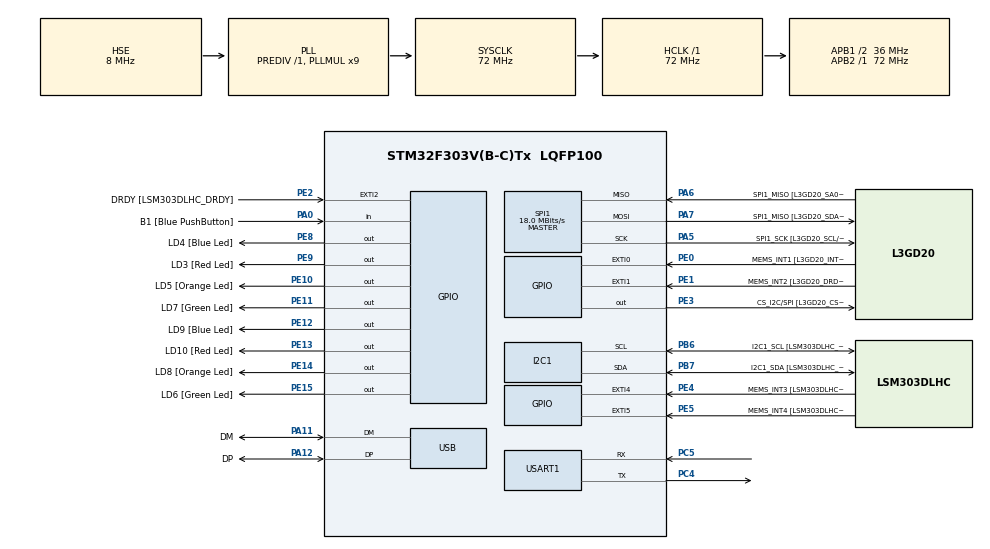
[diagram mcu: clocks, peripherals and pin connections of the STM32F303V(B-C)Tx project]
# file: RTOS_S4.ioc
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FREERTOS.Tasks01=defaultTask,0,128,StartDefaultTask,Default,NULL,Dynamic,NULL,NULL
FREERTOS.configUSE_NEWLIB_REENTRANT=1
I2C1.Timing-I2C=0x2000090E
Mcu.Family=STM32F3
Mcu.Name=STM32F303V(B-C)Tx
Mcu.Package=LQFP100
NVIC.PriorityGroup=NVIC_PRIORITYGROUP_4
NVIC.TIM1_UP_TIM16_IRQn=true\:15\:0\:false\:false\:true\:false\:false\:true\:true
NVIC.TimeBase=TIM1_UP_TIM16_IRQn
NVIC.TimeBaseIP=TIM1
NVIC.USART1_IRQn=true\:5\:0\:false\:false\:true\:true\:true\:true\:true
PA0.GPIO_Label=B1 [Blue PushButton]
PA0.Signal=GPIO_Input
PA11.GPIO_Label=DM
PA11.Mode=Device
PA11.Signal=USB_DM
PA12.GPIO_Label=DP
PA12.Mode=Device
PA12.Signal=USB_DP
PA13.GPIO_Label=SWDIO
PA13.Mode=Serial_Wire
PA13.Signal=SYS_JTMS-SWDIO
PA14.GPIO_Label=SWCLK
PA14.Mode=Serial_Wire
PA14.Signal=SYS_JTCK-SWCLK
PA5.GPIO_Label=SPI1_SCK [L3GD20_SCL/SPC]
PA5.Mode=Full_Duplex_Master
PA5.Signal=SPI1_SCK
PA6.GPIO_Label=SPI1_MISO [L3GD20_SA0/SDO]
PA6.Mode=Full_Duplex_Master
PA6.Signal=SPI1_MISO
PA7.GPIO_Label=SPI1_MISO [L3GD20_SDA/SDI/SDO]
PA7.Mode=Full_Duplex_Master
PA7.Signal=SPI1_MOSI
PB3.GPIO_Label=SWO
PB3.Signal=SYS_JTDO-TRACESWO
PB6.GPIO_Label=I2C1_SCL [LSM303DLHC_SCL]
PB6.GPIO_Pu=GPIO_PULLUP
PB6.Mode=I2C
PB6.Signal=I2C1_SCL
PB7.GPIO_Label=I2C1_SDA [LSM303DLHC_SDA]
PB7.GPIO_Pu=GPIO_PULLUP
PB7.Mode=I2C
PB7.Signal=I2C1_SDA
PC14-OSC32_IN.GPIO_Label=OSC32_IN
PC14-OSC32_IN.Signal=RCC_OSC32_IN
PC15-OSC32_OUT.GPIO_Label=OSC32_OUT
PC15-OSC32_OUT.Signal=RCC_OSC32_OUT
PC4.Mode=Asynchronous
PC4.Signal=USART1_TX
PC5.Mode=Asynchronous
PC5.Signal=USART1_RX
PE0.GPIO_Label=MEMS_INT1 [L3GD20_INT1]
PE0.GPIO_ModeDefaultEXTI=GPIO_MODE_EVT_RISING
PE0.Signal=GPXTI0
PE1.GPIO_Label=MEMS_INT2 [L3GD20_DRDY/INT2]
PE1.GPIO_ModeDefaultEXTI=GPIO_MODE_EVT_RISING
PE1.Signal=GPXTI1
PE10.GPIO_Label=LD5 [Orange Led]
PE10.Signal=GPIO_Output
PE11.GPIO_Label=LD7 [Green Led]
PE11.Signal=GPIO_Output
PE12.GPIO_Label=LD9 [Blue Led]
PE12.Signal=GPIO_Output
PE13.GPIO_Label=LD10 [Red Led]
PE13.Signal=GPIO_Output
PE14.GPIO_Label=LD8 [Orange Led]
PE14.Signal=GPIO_Output
PE15.GPIO_Label=LD6 [Green Led]
PE15.Signal=GPIO_Output
PE2.GPIO_Label=DRDY [LSM303DLHC_DRDY]
PE2.GPIO_ModeDefaultEXTI=GPIO_MODE_EVT_RISING
PE2.Signal=GPXTI2
PE3.GPIO_Label=CS_I2C/SPI [L3GD20_CS_I2C/SPI]
PE3.Signal=GPIO_Output
PE4.GPIO_Label=MEMS_INT3 [LSM303DLHC_INT1]
PE4.GPIO_ModeDefaultEXTI=GPIO_MODE_EVT_RISING
PE4.Signal=GPXTI4
PE5.GPIO_Label=MEMS_INT4 [LSM303DLHC_INT2]
PE5.GPIO_ModeDefaultEXTI=GPIO_MODE_EVT_RISING
PE5.Signal=GPXTI5
PE8.GPIO_Label=LD4 [Blue Led]
PE8.Signal=GPIO_Output
PE9.GPIO_Label=LD3 [Red Led]
PE9.Signal=GPIO_Output
PF0-OSC_IN.GPIO_Label=OSC_IN
PF0-OSC_IN.Mode=HSE-External-Clock-Source
PF0-OSC_IN.Signal=RCC_OSC_IN
PF1-OSC_OUT.GPIO_Label=OSC_OUT
PF1-OSC_OUT.Signal=RCC_OSC_OUT
ProjectManager.HeapSize=0x200
ProjectManager.StackSize=0x400
ProjectManager.TargetToolchain=STM32CubeIDE
RCC.AHBFreq_Value=72000000
RCC.APB1CLKDivider=RCC_HCLK_DIV2
RCC.APB1Freq_Value=36000000
RCC.APB1TimFreq_Value=72000000
RCC.APB2Freq_Value=72000000
RCC.APB2TimFreq_Value=72000000
RCC.CortexFreq_Value=72000000
RCC.HCLKFreq_Value=72000000
RCC.HSE_VALUE=8000000
RCC.HSI_VALUE=8000000
RCC.LSE_VALUE=32768
RCC.PLLMUL=RCC_PLL_MUL9
RCC.PRESCALERUSB=RCC_USBCLKSOURCE_PLL_DIV1_5
RCC.SYSCLKFreq_VALUE=72000000
RCC.SYSCLKSourceVirtual=RCC_SYSCLKSOURCE_PLLCLK
RCC.USBFreq_Value=48000000
SPI1.BaudRatePrescaler=SPI_BAUDRATEPRESCALER_4
SPI1.BaudRatePrescaler-Full_Duplex_Master=SPI_BAUDRATEPRESCALER_2
SPI1.CalculateBaudRate=18.0 MBits/s
SPI1.CalculateBaudRate-Full_Duplex_Master=24.0 MBits/s
SPI1.Direction=SPI_DIRECTION_2LINES
SPI1.Mode=SPI_MODE_MASTER
SPI1.Mode-Full_Duplex_Master=SPI_MODE_MASTER
SPI1.VirtualType=VM_MASTER
USART1.VirtualMode-Asynchronous=VM_ASYNC
VP_FREERTOS_VS_CMSIS_V1.Mode=CMSIS_V1
VP_SYS_VS_tim1.Mode=TIM1
board=STM32F3DISCOVERY

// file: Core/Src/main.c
/* USER CODE BEGIN Header */
/**
  ******************************************************************************
  * @file           : main.c
  * @brief          : Main program body
  ******************************************************************************
  * @attention
  *
  * Copyright (c) 2024 STMicroelectronics.
  * All rights reserved.
  *
  * This software is licensed under terms that can be found in the LICENSE file
  * in the root directory of this software component.
  * If no LICENSE file comes with this software, it is provided AS-IS.
  *
  ******************************************************************************
  */
/* USER CODE END Header */
#include "main.h"
//#include "cmsis_os.h"

/* USER CODE BEGIN Includes */
#include "FreeRTOS.h"
#include "task.h"
#include "timers.h"
#include "queue.h"
#include "semphr.h"
#include "event_groups.h"
#include "string.h"
/* USER CODE END Includes */

I2C_HandleTypeDef hi2c1;

SPI_HandleTypeDef hspi1;

UART_HandleTypeDef huart1;

PCD_HandleTypeDef hpcd_USB_FS;

void SystemClock_Config(void);
static void MX_GPIO_Init(void);
static void MX_I2C1_Init(void);
static void MX_SPI1_Init(void);
static void MX_USB_PCD_Init(void);
static void MX_USART1_UART_Init(void);

/* USER CODE BEGIN 0 */

/********************* Task Handlers *********************/
xTaskHandle Sender_HPT_Handler;
xTaskHandle Sender_LPT_Handler;
xTaskHandle Receiver_Handler;

/********************* Queue Handlers *********************/
xQueueHandle SimpleQueue;

/********************* Task Functions *********************/
void Sender_HPT_TASK_Start(void *argument);
void Sender_LPT_TASK_Start(void *argument);
void Receiver_TASK_Start(void *argument);

/********************* UART *********************/
uint8_t rx_data = 0;

/* USER CODE END 0 */

int main(void)
{

  /* MCU Configuration--------------------------------------------------------*/

  /* Reset of all peripherals, Initializes the Flash interface and the Systick. */
  HAL_Init();

  /* Configure the system clock */
  SystemClock_Config();

  /* Initialize all configured peripherals */
  MX_GPIO_Init();
  MX_I2C1_Init();
  MX_SPI1_Init();
  MX_USB_PCD_Init();
  MX_USART1_UART_Init();
  /* USER CODE BEGIN 2 */

  uint8_t buffer_data[100];
  sprintf(buffer_data, "Start\r\n");
  HAL_UART_Transmit(&huart1, buffer_data, strlen(buffer_data), 1000);

  /********************* Create Queue *********************/
  SimpleQueue = xQueueCreate(5, sizeof(int));
  // Check Queue is created successfully or not!
  if(SimpleQueue == 0) {
	  uint8_t queue_data[100];
	  sprintf(queue_data, "Unable to create integer queue!\r\n\r\n");
	  HAL_UART_Transmit(&huart1, queue_data, strlen(queue_data), 1000);
  }
  else {
	  uint8_t queue_data[100];
	  sprintf(queue_data, "Integer queue created successfully!!\r\n\r\n");
	  HAL_UART_Transmit(&huart1, queue_data, strlen(queue_data), 1000);
  }

  /********************* Create Tasks *********************/
  xTaskCreate(Sender_HPT_TASK_Start, "HPT_SENDER", 128, NULL, 3, &Sender_HPT_Handler);
  xTaskCreate(Sender_LPT_TASK_Start, "LPT_SENDER", 128, (void *)111, 2, &Sender_LPT_Handler);
  xTaskCreate(Receiver_TASK_Start, "RECEIVER", 128, NULL, 1, &Receiver_Handler);

  /********************* UART ISR *********************/
  HAL_UART_Receive_IT(&huart1, &rx_data, 1);

  /********************* Scheduler *********************/
  vTaskStartScheduler();

  /* USER CODE END 2 */

  /* Infinite loop */
  while (1)
  {

  }
}

void SystemClock_Config(void)
{
  RCC_OscInitTypeDef RCC_OscInitStruct = {0};
  RCC_ClkInitTypeDef RCC_ClkInitStruct = {0};
  RCC_PeriphCLKInitTypeDef PeriphClkInit = {0};

  /** Initializes the RCC Oscillators according to the specified parameters
  * in the RCC_OscInitTypeDef structure.
  */
  RCC_OscInitStruct.OscillatorType = RCC_OSCILLATORTYPE_HSI|RCC_OSCILLATORTYPE_HSE;
  RCC_OscInitStruct.HSEState = RCC_HSE_BYPASS;
  RCC_OscInitStruct.HSEPredivValue = RCC_HSE_PREDIV_DIV1;
  RCC_OscInitStruct.HSIState = RCC_HSI_ON;
  RCC_OscInitStruct.HSICalibrationValue = RCC_HSICALIBRATION_DEFAULT;
  RCC_OscInitStruct.PLL.PLLState = RCC_PLL_ON;
  RCC_OscInitStruct.PLL.PLLSource = RCC_PLLSOURCE_HSE;
  RCC_OscInitStruct.PLL.PLLMUL = RCC_PLL_MUL9;
  if (HAL_RCC_OscConfig(&RCC_OscInitStruct) != HAL_OK)
  {
    Error_Handler();
  }

  /** Initializes the CPU, AHB and APB buses clocks
  */
  RCC_ClkInitStruct.ClockType = RCC_CLOCKTYPE_HCLK|RCC_CLOCKTYPE_SYSCLK
                              |RCC_CLOCKTYPE_PCLK1|RCC_CLOCKTYPE_PCLK2;
  RCC_ClkInitStruct.SYSCLKSource = RCC_SYSCLKSOURCE_PLLCLK;
  RCC_ClkInitStruct.AHBCLKDivider = RCC_SYSCLK_DIV1;
  RCC_ClkInitStruct.APB1CLKDivider = RCC_HCLK_DIV2;
  RCC_ClkInitStruct.APB2CLKDivider = RCC_HCLK_DIV1;

  if (HAL_RCC_ClockConfig(&RCC_ClkInitStruct, FLASH_LATENCY_2) != HAL_OK)
  {
    Error_Handler();
  }
  PeriphClkInit.PeriphClockSelection = RCC_PERIPHCLK_USB|RCC_PERIPHCLK_USART1
                              |RCC_PERIPHCLK_I2C1;
  PeriphClkInit.Usart1ClockSelection = RCC_USART1CLKSOURCE_PCLK2;
  PeriphClkInit.I2c1ClockSelection = RCC_I2C1CLKSOURCE_HSI;
  PeriphClkInit.USBClockSelection = RCC_USBCLKSOURCE_PLL_DIV1_5;
  if (HAL_RCCEx_PeriphCLKConfig(&PeriphClkInit) != HAL_OK)
  {
    Error_Handler();
  }
}

static void MX_I2C1_Init(void)
{

  hi2c1.Instance = I2C1;
  hi2c1.Init.Timing = 0x2000090E;
  hi2c1.Init.OwnAddress1 = 0;
  hi2c1.Init.AddressingMode = I2C_ADDRESSINGMODE_7BIT;
  hi2c1.Init.DualAddressMode = I2C_DUALADDRESS_DISABLE;
  hi2c1.Init.OwnAddress2 = 0;
  hi2c1.Init.OwnAddress2Masks = I2C_OA2_NOMASK;
  hi2c1.Init.GeneralCallMode = I2C_GENERALCALL_DISABLE;
  hi2c1.Init.NoStretchMode = I2C_NOSTRETCH_DISABLE;
  if (HAL_I2C_Init(&hi2c1) != HAL_OK)
  {
    Error_Handler();
  }

  /** Configure Analogue filter
  */
  if (HAL_I2CEx_ConfigAnalogFilter(&hi2c1, I2C_ANALOGFILTER_ENABLE) != HAL_OK)
  {
    Error_Handler();
  }

  /** Configure Digital filter
  */
  if (HAL_I2CEx_ConfigDigitalFilter(&hi2c1, 0) != HAL_OK)
  {
    Error_Handler();
  }

}

static void MX_SPI1_Init(void)
{

  /* SPI1 parameter configuration*/
  hspi1.Instance = SPI1;
  hspi1.Init.Mode = SPI_MODE_MASTER;
  hspi1.Init.Direction = SPI_DIRECTION_2LINES;
  hspi1.Init.DataSize = SPI_DATASIZE_4BIT;
  hspi1.Init.CLKPolarity = SPI_POLARITY_LOW;
  hspi1.Init.CLKPhase = SPI_PHASE_1EDGE;
  hspi1.Init.NSS = SPI_NSS_SOFT;
  hspi1.Init.BaudRatePrescaler = SPI_BAUDRATEPRESCALER_4;
  hspi1.Init.FirstBit = SPI_FIRSTBIT_MSB;
  hspi1.Init.TIMode = SPI_TIMODE_DISABLE;
  hspi1.Init.CRCCalculation = SPI_CRCCALCULATION_DISABLE;
  hspi1.Init.CRCPolynomial = 7;
  hspi1.Init.CRCLength = SPI_CRC_LENGTH_DATASIZE;
  hspi1.Init.NSSPMode = SPI_NSS_PULSE_ENABLE;
  if (HAL_SPI_Init(&hspi1) != HAL_OK)
  {
    Error_Handler();
  }

}

static void MX_USART1_UART_Init(void)
{

  huart1.Instance = USART1;
  huart1.Init.BaudRate = 38400;
  huart1.Init.WordLength = UART_WORDLENGTH_8B;
  huart1.Init.StopBits = UART_STOPBITS_1;
  huart1.Init.Parity = UART_PARITY_NONE;
  huart1.Init.Mode = UART_MODE_TX_RX;
  huart1.Init.HwFlowCtl = UART_HWCONTROL_NONE;
  huart1.Init.OverSampling = UART_OVERSAMPLING_16;
  huart1.Init.OneBitSampling = UART_ONE_BIT_SAMPLE_DISABLE;
  huart1.AdvancedInit.AdvFeatureInit = UART_ADVFEATURE_NO_INIT;
  if (HAL_UART_Init(&huart1) != HAL_OK)
  {
    Error_Handler();
  }

}

static void MX_USB_PCD_Init(void)
{

  hpcd_USB_FS.Instance = USB;
  hpcd_USB_FS.Init.dev_endpoints = 8;
  hpcd_USB_FS.Init.speed = PCD_SPEED_FULL;
  hpcd_USB_FS.Init.phy_itface = PCD_PHY_EMBEDDED;
  hpcd_USB_FS.Init.low_power_enable = DISABLE;
  hpcd_USB_FS.Init.battery_charging_enable = DISABLE;
  if (HAL_PCD_Init(&hpcd_USB_FS) != HAL_OK)
  {
    Error_Handler();
  }

}

static void MX_GPIO_Init(void)
{
  GPIO_InitTypeDef GPIO_InitStruct = {0};

  /* GPIO Ports Clock Enable */
  __HAL_RCC_GPIOE_CLK_ENABLE();
  __HAL_RCC_GPIOC_CLK_ENABLE();
  __HAL_RCC_GPIOF_CLK_ENABLE();
  __HAL_RCC_GPIOA_CLK_ENABLE();
  __HAL_RCC_GPIOB_CLK_ENABLE();

  /*Configure GPIO pin Output Level */
  HAL_GPIO_WritePin(GPIOE, CS_I2C_SPI_Pin|LD4_Pin|LD3_Pin|LD5_Pin
                          |LD7_Pin|LD9_Pin|LD10_Pin|LD8_Pin
                          |LD6_Pin, GPIO_PIN_RESET);

  /*Configure GPIO pins : DRDY_Pin MEMS_INT3_Pin MEMS_INT4_Pin MEMS_INT1_Pin
                           MEMS_INT2_Pin */
  GPIO_InitStruct.Pin = DRDY_Pin|MEMS_INT3_Pin|MEMS_INT4_Pin|MEMS_INT1_Pin
                          |MEMS_INT2_Pin;
  GPIO_InitStruct.Mode = GPIO_MODE_EVT_RISING;
  GPIO_InitStruct.Pull = GPIO_NOPULL;
  HAL_GPIO_Init(GPIOE, &GPIO_InitStruct);

  /*Configure GPIO pins : CS_I2C_SPI_Pin LD4_Pin LD3_Pin LD5_Pin
                           LD7_Pin LD9_Pin LD10_Pin LD8_Pin
                           LD6_Pin */
  GPIO_InitStruct.Pin = CS_I2C_SPI_Pin|LD4_Pin|LD3_Pin|LD5_Pin
                          |LD7_Pin|LD9_Pin|LD10_Pin|LD8_Pin
                          |LD6_Pin;
  GPIO_InitStruct.Mode = GPIO_MODE_OUTPUT_PP;
  GPIO_InitStruct.Pull = GPIO_NOPULL;
  GPIO_InitStruct.Speed = GPIO_SPEED_FREQ_LOW;
  HAL_GPIO_Init(GPIOE, &GPIO_InitStruct);

  /*Configure GPIO pin : B1_Pin */
  GPIO_InitStruct.Pin = B1_Pin;
  GPIO_InitStruct.Mode = GPIO_MODE_INPUT;
  GPIO_InitStruct.Pull = GPIO_NOPULL;
  HAL_GPIO_Init(B1_GPIO_Port, &GPIO_InitStruct);

}

/* USER CODE BEGIN 4 */

void HAL_UART_RxCpltCallback(UART_HandleTypeDef *huart) {
	HAL_UART_Receive_IT(&huart1, &rx_data, 1);

	int toSend2Queue = 123456789;
	if(rx_data == 'r') {

		/* The xHigherPriorityTaskWoken parameter must be initialized to pdFALSE
		 * as it will get set to pdTRUE inside the interrupt safe API function if a context switch is required. */
		BaseType_t xHigherPriorityTaskWoken = pdFALSE; // ISR SAFE VERSION

		if(xQueueSendToFrontFromISR(SimpleQueue, &toSend2Queue, &xHigherPriorityTaskWoken) == pdPASS) {
			uint8_t data[100];
			sprintf(data, "\r\n\r\nSent from ISR\r\n\r\n");
			HAL_UART_Transmit(&huart1, data, strlen(data), HAL_MAX_DELAY);
		}

		/* Pass the xHigherPriorityTaskWoken value into portEND_SWITCHING_ISR().
		 * If xHigherPriorityTaskWoken was set to pdTRUE inside xSemaphoreGiveFromISR()
		then calling portEND_SWITCHING ISR() will request a context switch.
		If xHigherPriorityTaskWoken is still pdFALSE then calling portEND_SWITCHING_ISR() will have no effect */
		portEND_SWITCHING_ISR(xHigherPriorityTaskWoken);

	}

}

void Sender_HPT_TASK_Start(void *argument) {
	int i = 222;
	uint32_t TickDelay = pdMS_TO_TICKS(2000);

	while(1) {
		uint8_t data[100];
		sprintf(data, "Entered Sender_HPT Task\r\n about to send a number to the queue\r\n\r\n");
		HAL_UART_Transmit(&huart1, data, strlen(data), HAL_MAX_DELAY);

		if(xQueueSend(SimpleQueue, &i, portMAX_DELAY) == pdPASS) {
			sprintf(data, "Successfully sent the number to the queue\r\nLeaving Sender_HPT Task\r\n\r\n\r\n");
			HAL_UART_Transmit(&huart1, data, strlen(data), HAL_MAX_DELAY);
		}

		vTaskDelay(TickDelay);
	}
}

void Sender_LPT_TASK_Start(void *argument) {
	int toSend;
	uint32_t TickDelay = pdMS_TO_TICKS(1000);

	while(1) {
		toSend = (int) argument;
		uint8_t data[100];
		sprintf(data, "Entered Sender_LPT Task\r\n about to send a number to the queue\r\n\r\n");
		HAL_UART_Transmit(&huart1, data, strlen(data), HAL_MAX_DELAY);

		xQueueSend(SimpleQueue, &toSend, portMAX_DELAY);

		sprintf(data, "Successfully sent the number to the queue\r\nLeaving Sender_LPT Task\r\n\r\n\r\n");
		HAL_UART_Transmit(&huart1, data, strlen(data), HAL_MAX_DELAY);

		vTaskDelay(TickDelay);
	}
}

void Receiver_TASK_Start(void *argument) {
	int received = 0;
	uint32_t TickDelay = pdMS_TO_TICKS(5000);

	while(1) {
		uint8_t data[100];
		sprintf(data, "Entered RECEIVER Task\r\n about to send a number to the queue\r\n\r\n");
		HAL_UART_Transmit(&huart1, data, strlen(data), HAL_MAX_DELAY);

		if(xQueueReceive(SimpleQueue, &received, portMAX_DELAY) != pdTRUE) {
			sprintf(data, "Error in receiving the number from queue\r\n");
			HAL_UART_Transmit(&huart1, data, strlen(data), HAL_MAX_DELAY);
		} else {
			sprintf(data, "Successfully received the number %d from the queue\r\nLeaving RECEIVER Task\r\n\r\n\r\n", received);
			HAL_UART_Transmit(&huart1, data, strlen(data), HAL_MAX_DELAY);
		}

		vTaskDelay(TickDelay);
	}
}
/* USER CODE END 4 */

void HAL_TIM_PeriodElapsedCallback(TIM_HandleTypeDef *htim)
{
  if (htim->Instance == TIM1) {
    HAL_IncTick();
  }
}

void Error_Handler(void)
{
  __disable_irq();
  while (1)
  {
  }
}
